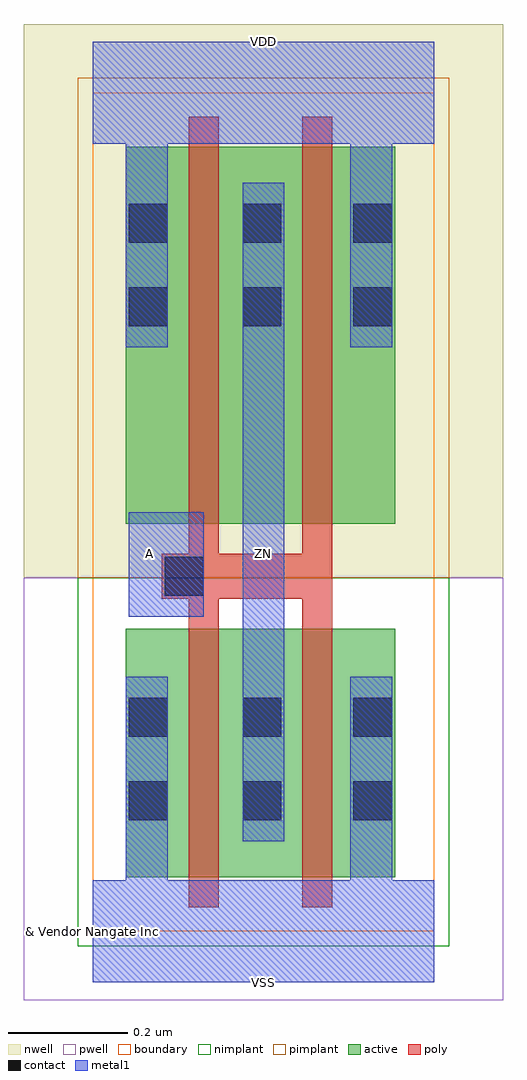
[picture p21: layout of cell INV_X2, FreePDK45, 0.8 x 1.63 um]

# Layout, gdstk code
import gdstk
lib = gdstk.Library(unit=1e-6, precision=1e-10)
def R(c, l, rs):  # rectangles x0, y0, x1, y1
    for r in rs: c.add(gdstk.rectangle(r[:2], r[2:], *l))
def P(c, l, *ps):  # polygons
    for p in ps: c.add(gdstk.Polygon(p, *l))
active = (1, 0)
pwell = (2, 0)
nwell = (3, 0)
nimplant = (4, 0)
pimplant = (5, 0)
poly = (9, 0)
contact = (10, 0)
metal1 = (11, 0)
boundary = (235, 0)

inv_x2 = lib.new_cell('INV_X2')
R(inv_x2, active, [(0.055,0.09,0.505,0.505), (0.055,0.68,0.505,1.31)])
R(inv_x2, pwell, [(-0.115,-0.115,0.685,0.59)])
R(inv_x2, nwell, [(-0.115,0.59,0.685,1.515)])
R(inv_x2, nimplant, [(-0.025,-0.025,0.595,0.59)])
R(inv_x2, pimplant, [(-0.025,0.59,0.595,1.425)])
P(inv_x2, poly, [(0.16,0.04),(0.16,0.555),(0.115,0.555),(0.115,0.63),(0.16,0.63),(0.16,1.36),(0.21,1.36),(0.21,0.63),(0.35,0.63),(0.35,1.36),(0.4,1.36),(0.4,0.04),(0.35,0.04),(0.35,0.555),(0.21,0.555),(0.21,0.04)])
R(inv_x2, contact, [(0.06,0.185,0.125,0.25), (0.25,0.185,0.315,0.25), (0.435,0.185,0.5,0.25), (0.06,0.325,0.125,0.39), (0.25,0.325,0.315,0.39), (0.435,0.325,0.5,0.39), (0.12,0.56,0.185,0.625), (0.06,1.01,0.125,1.075), (0.25,1.01,0.315,1.075), (0.435,1.01,0.5,1.075), (0.06,1.15,0.125,1.215), (0.25,1.15,0.315,1.215), (0.435,1.15,0.5,1.215)])
R(inv_x2, metal1, [(0.25,0.15,0.32,1.25), (0.06,0.525,0.185,0.7)])
P(inv_x2, metal1, [(0,-0.085),(0,0.085),(0.055,0.085),(0.055,0.425),(0.125,0.425),(0.125,0.085),(0.43,0.085),(0.43,0.425),(0.5,0.425),(0.5,0.085),(0.57,0.085),(0.57,-0.085)],
  [(0.055,0.975),(0.055,1.315),(0,1.315),(0,1.485),(0.57,1.485),(0.57,1.315),(0.5,1.315),(0.5,0.975),(0.43,0.975),(0.43,1.315),(0.125,1.315),(0.125,0.975)])
R(inv_x2, boundary, [(0,0,0.57,1.4)])
inv_x2.add(gdstk.Label('A', (0.095,0.63), layer=11, texttype=0))
inv_x2.add(gdstk.Label('VDD', (0.285,1.485), layer=11, texttype=0))
inv_x2.add(gdstk.Label('VSS', (0.285,-0.085), layer=11, texttype=0))
inv_x2.add(gdstk.Label('ZN', (0.285,0.63), layer=11, texttype=0))
inv_x2.add(gdstk.Label('& Vendor Nangate Inc', (0,0), layer=63, texttype=63))
inv_x2.add(gdstk.Label('& Product Open Cell Library', (0,0), layer=63, texttype=63))
inv_x2.add(gdstk.Label('& Version 2010_12', (0,0), layer=63, texttype=63))
inv_x2.add(gdstk.Label('& Instance INV_X2', (0,0), layer=63, texttype=63))

lib.write_gds('INV_X2.gds')
